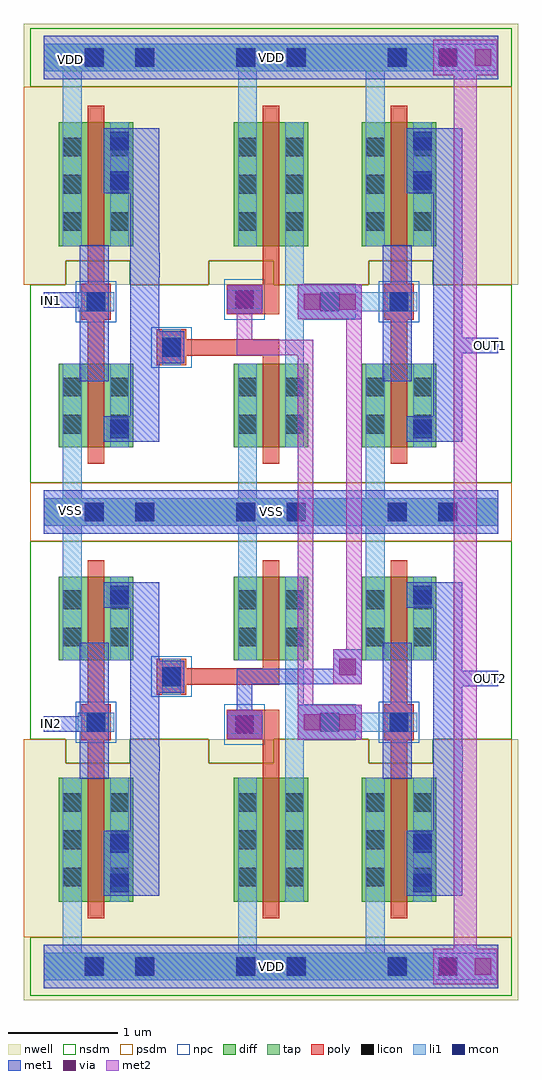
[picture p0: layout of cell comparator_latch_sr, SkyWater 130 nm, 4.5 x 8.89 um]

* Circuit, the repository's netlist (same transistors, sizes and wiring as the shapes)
* +++++++++++++++++++++++++++++++++++++++++++++++++++++ *
* CDL Netlist:                                          *
*                                                       *
* Cell Name  : comparator_latch_sr                      *
* Netlisted  : Mon Aug 10 00:38:03 2026                 *
* PVS Version: 16.10-p006 Thu Jul 27 18:05:02 PDT 2017 *
* +++++++++++++++++++++++++++++++++++++++++++++++++++++ *
*.LDD
*.DEVTMPLT 0 R(res_generic_m1) met1_res met1(P) met1(N)
*.DEVTMPLT 1 R(res_generic_m2) met2_res met2(P) met2(N)
*.DEVTMPLT 2 R(res_generic_m3) met3_res met3(P) met3(N)
*.DEVTMPLT 3 R(res_generic_m4) met4_res met4(P) met4(N)
*.DEVTMPLT 4 R(res_generic_m5) met5_res met5(P) met5(N)
*.DEVTMPLT 5 D(diode_pd2nw_05v5) diode_pd2nw_05v5_rec psd(PLUS) nwell(MINUS)
*.DEVTMPLT 6 D(diode_pd2nw_05v5_hvt) diode_pd2nw_05v5_hvt_rec psd(PLUS) nwell(MINUS)
*.DEVTMPLT 7 D(diode_pd2nw_05v5_lvt) diode_pd2nw_05v5_lvt_rec psd(PLUS) nwell(MINUS)
*.DEVTMPLT 8 D(diode_pd2nw_11v0) diode_pd2nw_11v0_rec psd(PLUS) nwell(MINUS)
*.DEVTMPLT 9 D(diode_pw2nd_05v5) diode_pw2nd_05v5_rec pwell_all(PLUS) nsd(MINUS)
*.DEVTMPLT 10 D(diode_pw2nd_05v5_lvt) diode_pw2nd_05v5_lvt_rec pwell_all(PLUS) nsd(MINUS)
*.DEVTMPLT 11 D(diode_pw2nd_05v5_nvt) diode_pw2nd_05v5_nvt_rec pwell_all(PLUS) nsd(MINUS)
*.DEVTMPLT 12 D(diode_pw2nd_11v0) diode_pw2nd_11v0_rec pwell_all(PLUS) nsd(MINUS)
*.DEVTMPLT 0 R(RES_GENERIC_ND) diff_res np_term(P) np_term(N)
*.DEVTMPLT 1 R(RES_GENERIC_PD) diff_res pp_term(P) pp_term(N)
*.DEVTMPLT 15 MN(nfet_01v8) nfet_01v8_rec nSourceDrain(D) nfet(G) nSourceDrain(S) pwell_all(B)
*.DEVTMPLT 16 MP(pfet_01v8) pfet_01v8_rec pSourceDrain(D) pfet(G) pSourceDrain(S) nwell(B)
*.DEVTMPLT 17 MP(pfet_01v8_lvt) lvtpfet_01v8_rec pSourceDrain(D) lvtpfet(G) pSourceDrain(S) nwell(B)
*.DEVTMPLT 18 MN(nfet_01v8_lvt) lvtnfet_01v8_rec nSourceDrain(D) lvtnfet(G) nSourceDrain(S) pwell_all(B)
*.DEVTMPLT 19 MP(pfet_01v8_hvt) hvtpfet_01v8_rec pSourceDrain(D) hvtpfet(G) pSourceDrain(S) nwell(B)
*.DEVTMPLT 20 MN(nfet_03v3_nvt) HV_ngate_3v3 HV_source_drain(D) HV_FET_gate(G) HV_source_drain(S) pwell_all(B)
*.DEVTMPLT 21 MN(nfet_05v0_nvt) HV_ngate_5v0 HV_source_drain(D) HV_FET_gate(G) HV_source_drain(S) pwell_all(B)
*.DEVTMPLT 22 MN(nfet_g5v0d10v5) HV_ngate_5v10v HV_source_drain(D) HV_FET_gate(G) HV_source_drain(S) pwell_all(B)
*.DEVTMPLT 23 MP(pfet_g5v0d10v5) HV_pgate_5v10v HV_source_drain(D) HV_FET_gate(G) HV_source_drain(S) nwell(B)
*.DEVTMPLT 24 MN(nfet_20v0) nfet_v20_rec nfet_v20_drain(D) nfet_v20_gate(G) nfet_v20_source(S) pwell_all(B)
*.DEVTMPLT 25 MN(nfet_20v0_zvt) nfet_v20_zvt_rec nfet_v20_drain(D) nfet_v20_gate(G) nfet_v20_source(S) pwell_all(B)
*.DEVTMPLT 26 MP(pfet_20v0) pfet_v20_rec pfet_v20_drain(D) pfet_v20_gate(G) pfet_v20_source(S) nwell(B)
*.DEVTMPLT 27 Q(npn_05v5) npn_rec npnC(C) npnB(B) npnE(E) pwell_all(BN)
*.DEVTMPLT 28 Q(npn_11v0) hvnpn_rec npnC(C) npnB(B) hvnpnE(E) pwell_all(BN)
*.DEVTMPLT 29 Q(pnp_05v5) pnp_rec pnpC(C) pnpB(B) pnpE(E) pwell_all(BN)
*.DEVTMPLT 30 R(res_high_po_0p35) res_high_po_0p35_rec prec_resistor_term(PLUS) prec_resistor_term(MINUS) pwell_all(B)
*.DEVTMPLT 31 R(res_high_po_0p69) res_high_po_0p69_rec prec_resistor_term(PLUS) prec_resistor_term(MINUS) pwell_all(B)
*.DEVTMPLT 32 R(res_high_po_1p41) res_high_po_1p41_rec prec_resistor_term(PLUS) prec_resistor_term(MINUS) pwell_all(B)
*.DEVTMPLT 33 R(res_high_po_2p85) res_high_po_2p85_rec prec_resistor_term(PLUS) prec_resistor_term(MINUS) pwell_all(B)
*.DEVTMPLT 34 R(res_high_po_5p73) res_high_po_5p73_rec prec_resistor_term(PLUS) prec_resistor_term(MINUS) pwell_all(B)
*.DEVTMPLT 35 R(res_xhigh_po_0p35) res_xhigh_po_0p35_rec prec_resistor_term(PLUS) prec_resistor_term(MINUS) pwell_all(B)
*.DEVTMPLT 36 R(res_xhigh_po_0p69) res_xhigh_po_0p69_rec prec_resistor_term(PLUS) prec_resistor_term(MINUS) pwell_all(B)
*.DEVTMPLT 37 R(res_xhigh_po_1p41) res_xhigh_po_1p41_rec prec_resistor_term(PLUS) prec_resistor_term(MINUS) pwell_all(B)
*.DEVTMPLT 38 R(res_xhigh_po_2p85) res_xhigh_po_2p85_rec prec_resistor_term(PLUS) prec_resistor_term(MINUS) pwell_all(B)
*.DEVTMPLT 39 R(res_xhigh_po_5p73) res_xhigh_po_5p73_rec prec_resistor_term(PLUS) prec_resistor_term(MINUS) pwell_all(B)
*.DEVTMPLT 40 C(cap_mim_m3__base) capacitor top_plate(PLUS) bottom_plate(MINUS)

* +++++++++++++++++++++++++++++++++++++++++++++++++++++ *
* Sub cell: nfet_01v8$$6                                *
* +++++++++++++++++++++++++++++++++++++++++++++++++++++ *
.subckt nfet_01v8$$6 1 2 3
** N=7 EP=3 FDC=1
M0 3 1 2 2 nfet_01v8 L=1.5e-07 W=7.6e-07 $X=0 $Y=0 $dt=15
.ends nfet_01v8$$6

* +++++++++++++++++++++++++++++++++++++++++++++++++++++ *
* Sub cell: INVX1_UPD                                   *
* +++++++++++++++++++++++++++++++++++++++++++++++++++++ *
.subckt INVX1_UPD A Y VDD VSS
** N=19 EP=4 FDC=2
M0 Y A VSS VSS nfet_01v8 L=1.5e-07 W=7.6e-07 $X=400 $Y=590 $dt=15
M1 Y A VDD VDD pfet_01v8 L=1.5e-07 W=1.13e-06 $X=400 $Y=2420 $dt=16
.ends INVX1_UPD

* +++++++++++++++++++++++++++++++++++++++++++++++++++++ *
* Sub cell: pfet_01v8$$11                               *
* +++++++++++++++++++++++++++++++++++++++++++++++++++++ *
.subckt pfet_01v8$$11 1 2 3
** N=10 EP=3 FDC=1
M0 3 1 2 2 pfet_01v8 L=1.5e-07 W=1.13e-06 $X=0 $Y=0 $dt=16
.ends pfet_01v8$$11

* +++++++++++++++++++++++++++++++++++++++++++++++++++++ *
* Sub cell: comparator_latch_sr                         *
* +++++++++++++++++++++++++++++++++++++++++++++++++++++ *
.subckt comparator_latch_sr IN1 IN2 OUT1 OUT2 VDD VSS
** N=20 EP=6 FDC=12
X13 1 VSS 4 nfet_01v8$$6 $T=2120 3050 0 0 $X=1715 $Y=2900
X14 2 VSS 3 nfet_01v8$$6 $T=2120 4990 0 0 $X=1715 $Y=4840
X15 IN2 1 VDD VSS INVX1_UPD $T=125 4400 1 0 $X=-55 $Y=-45
X16 IN1 2 VDD VSS INVX1_UPD $T=125 4400 0 0 $X=-55 $Y=4135
X17 4 OUT2 VDD VSS INVX1_UPD $T=2885 4400 1 0 $X=2705 $Y=-45
X18 3 OUT1 VDD VSS INVX1_UPD $T=2885 4400 0 0 $X=2705 $Y=4135
X19 3 VDD 4 pfet_01v8$$11 $T=2120 850 0 0 $X=1675 $Y=670
X20 4 VDD 3 pfet_01v8$$11 $T=2120 6820 0 0 $X=1675 $Y=6640
.ends comparator_latch_sr

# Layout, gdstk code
from math import pi, radians
import gdstk
lib = gdstk.Library(unit=1e-6, precision=1e-09)
def R(c, l, rs):  # rectangles x0, y0, x1, y1
    for r in rs: c.add(gdstk.rectangle(r[:2], r[2:], *l))
def A(c, l, x, y, w, h, nx, ny, dx, dy):  # array of equal rectangles
    R(c, l, [(x+i*dx, y+j*dy, x+i*dx+w, y+j*dy+h) for i in range(nx) for j in range(ny)])
def P(c, l, *ps):  # polygons
    for p in ps: c.add(gdstk.Polygon(p, *l))
nwell = (64, 20)
diff = (65, 20)
tap = (65, 44)
poly = (66, 20)
licon = (66, 44)
li1 = (67, 20)
mcon = (67, 44)
met1 = (68, 20)
via = (68, 44)
met2 = (69, 20)
nsdm = (93, 44)
psdm = (94, 20)
npc = (95, 20)

nfet_01v8__6 = lib.new_cell('nfet_01v8$$6')
R(nfet_01v8__6, diff, [(-0.265,0,0,0.76), (0,0,0.15,0.76), (0.15,0,0.415,0.76)])
R(nfet_01v8__6, poly, [(0,-0.15,0.15,-0.095), (0,-0.095,0.15,0), (0,0,0.15,0.76), (0,0.76,0.15,0.855), (0,0.855,0.15,0.91)])
R(nfet_01v8__6, licon, [(-0.225,0.125,-0.055,0.295), (0.205,0.125,0.375,0.295), (-0.225,0.465,-0.055,0.635), (0.205,0.465,0.375,0.635)])
R(nfet_01v8__6, li1, [(-0.225,0,-0.055,0.76), (0.205,0,0.375,0.76)])
R(nfet_01v8__6, nsdm, [(-0.405,-0.13,0.555,0.89)])
nfet_01v8__6.add(gdstk.Label('D_drain_1', (0.282,0.38), layer=65, texttype=20))
nfet_01v8__6.add(gdstk.Label('S_source_0', (-0.132,0.38), layer=65, texttype=20))
nfet_01v8__6.add(gdstk.Label('G_gate_1', (0.075,-0.122), layer=66, texttype=20))
nfet_01v8__6.add(gdstk.Label('G_gate_1', (0.075,0.882), layer=66, texttype=20))
nfet_01v8__6.add(gdstk.Label('D_drain_1', (0.29,0.38), layer=67, texttype=20))
nfet_01v8__6.add(gdstk.Label('S_source_0', (-0.14,0.38), layer=67, texttype=20))

l1m1_c__7 = lib.new_cell('L1M1_C$$7')
R(l1m1_c__7, li1, [(-0.165,-0.085,0.165,0.085)])
R(l1m1_c__7, mcon, [(-0.085,-0.085,0.085,0.085)])
R(l1m1_c__7, met1, [(-0.115,-0.145,0.115,0.145)])

l1m1_c__8 = lib.new_cell('L1M1_C$$8')
R(l1m1_c__8, li1, [(-0.085,-0.345,0.085,0.345)])
R(l1m1_c__8, mcon, [(-0.085,-0.265,0.085,-0.095), (-0.085,0.095,0.085,0.265)])
R(l1m1_c__8, met1, [(-0.145,-0.295,0.145,0.295)])

pyl1con_c__9 = lib.new_cell('PYL1CON_C$$9')
R(pyl1con_c__9, poly, [(-0.135,-0.165,0.135,0.165)])
R(pyl1con_c__9, licon, [(-0.085,-0.085,0.085,0.085)])
R(pyl1con_c__9, npc, [(-0.185,-0.185,0.185,0.185)])

l1m1_c__10 = lib.new_cell('L1M1_C$$10')
R(l1m1_c__10, li1, [(-0.085,-0.165,0.085,0.165)])
R(l1m1_c__10, mcon, [(-0.085,-0.085,0.085,0.085)])
R(l1m1_c__10, met1, [(-0.145,-0.115,0.145,0.115)])

invx1_upd = lib.new_cell('INVX1_UPD')
R(invx1_upd, nwell, [(-0.18,2.07,1.56,4.445)])
R(invx1_upd, diff, [(0.135,0.59,0.815,1.35), (0.135,2.42,0.815,3.55)])
R(invx1_upd, poly, [(0.4,0.44,0.55,3.7)])
A(invx1_upd, licon, 0.175, 2.56, 0.17, 0.17, 1, 3, 0, 0.34)
A(invx1_upd, licon, 0.605, 2.56, 0.17, 0.17, 1, 3, 0, 0.34)
R(invx1_upd, licon, [(0.375,-0.085,0.545,0.085), (0.835,-0.085,1.005,0.085), (0.175,0.715,0.345,0.885), (0.605,0.715,0.775,0.885), (0.175,1.055,0.345,1.225), (0.605,1.055,0.775,1.225), (0.375,4.055,0.545,4.225), (0.835,4.055,1.005,4.225)])
R(invx1_upd, li1, [(0.605,0.59,0.775,1.35), (0.605,2.42,0.775,3.55)])
P(invx1_upd, li1, [(1.38,0.125),(0.345,0.125),(0.345,1.35),(0.175,1.35),(0.175,0.125),(0,0.125),(0,-0.125),(1.38,-0.125)],
  [(1.38,4.265),(0,4.265),(0,4.015),(0.175,4.015),(0.175,2.42),(0.345,2.42),(0.345,4.015),(1.38,4.015)])
R(invx1_upd, mcon, [(0.375,-0.085,0.545,0.085), (0.835,-0.085,1.005,0.085), (0.375,4.055,0.545,4.225), (0.835,4.055,1.005,4.225)])
R(invx1_upd, met1, [(0,-0.2,1.38,0.2), (0.33,1.19,0.59,2.43), (0.79,2.14,1.055,2.36), (0,3.94,1.38,4.34)])
R(invx1_upd, nsdm, [(-0.125,3.875,1.505,4.405)])
P(invx1_upd, nsdm, [(1.505,2.07),(0.79,2.07),(0.79,2.29),(0.2,2.29),(0.2,2.07),(-0.125,2.07),(-0.125,0.265),(1.505,0.265)])
R(invx1_upd, psdm, [(-0.125,-0.265,1.505,0.265)])
P(invx1_upd, psdm, [(1.505,3.875),(-0.125,3.875),(-0.125,2.07),(0.2,2.07),(0.2,2.29),(0.79,2.29),(0.79,2.07),(1.505,2.07)])
invx1_upd.add(gdstk.FlexPath([(0,0),(1.38,0)], 0.25, ends="flush", simple_path=True, layer=65, datatype=44))  # tap
invx1_upd.add(gdstk.FlexPath([(0,4.14),(1.38,4.14)], 0.25, ends="flush", simple_path=True, layer=65, datatype=44))  # tap
invx1_upd.add(gdstk.FlexPath([(0.46,2.43),(0.46,1.19)], 0.26, ends="flush", simple_path=True, layer=68, datatype=20))  # met1
invx1_upd.add(gdstk.FlexPath([(0.92,0.64),(0.92,3.495)], 0.26, ends="flush", simple_path=True, layer=68, datatype=20))  # met1
invx1_upd.add(gdstk.Reference(l1m1_c__7, (0.475,1.915)))
invx1_upd.add(gdstk.Reference(l1m1_c__8, (0.69,3.2)))
invx1_upd.add(gdstk.Reference(pyl1con_c__9, (0.475,1.915), rotation=pi, x_reflection=True))
invx1_upd.add(gdstk.Reference(l1m1_c__10, (0.69,0.755)))
invx1_upd.add(gdstk.Label('A', (0.46,1.81), layer=68, texttype=20))
invx1_upd.add(gdstk.Label('Y', (0.922,2.25), layer=68, texttype=20))
invx1_upd.add(gdstk.Label('VSS', (0.69,0), layer=68, texttype=20))
invx1_upd.add(gdstk.Label('VDD', (0.69,4.14), layer=68, texttype=20))
invx1_upd.add(gdstk.Label('VDD', (0.695,4.145), layer=68, texttype=5))
invx1_upd.add(gdstk.Label('Y', (0.92,2.25), layer=68, texttype=5))
invx1_upd.add(gdstk.Label('VSS', (0.715,-0.01), layer=68, texttype=5))
invx1_upd.add(gdstk.Label('A', (0.46,1.715), layer=68, texttype=5))

pfet_01v8__11 = lib.new_cell('pfet_01v8$$11')
R(pfet_01v8__11, nwell, [(-0.445,-0.18,0.595,1.31)])
R(pfet_01v8__11, diff, [(-0.265,0,0,1.13), (0,0,0.15,1.13), (0.15,0,0.415,1.13)])
R(pfet_01v8__11, poly, [(0,-0.15,0.15,-0.095), (0,-0.095,0.15,0), (0,0,0.15,1.13), (0,1.13,0.15,1.225), (0,1.225,0.15,1.28)])
A(pfet_01v8__11, licon, -0.225, 0.14, 0.17, 0.17, 1, 3, 0, 0.34)
A(pfet_01v8__11, licon, 0.205, 0.14, 0.17, 0.17, 1, 3, 0, 0.34)
R(pfet_01v8__11, li1, [(-0.225,0,-0.055,1.13), (0.205,0,0.375,1.13)])
R(pfet_01v8__11, psdm, [(-0.405,-0.13,0.555,1.26)])
pfet_01v8__11.add(gdstk.Label('D_drain_1', (0.282,0.565), layer=65, texttype=20))
pfet_01v8__11.add(gdstk.Label('S_source_0', (-0.132,0.565), layer=65, texttype=20))
pfet_01v8__11.add(gdstk.Label('G_gate_1', (0.075,-0.122), layer=66, texttype=20))
pfet_01v8__11.add(gdstk.Label('G_gate_1', (0.075,1.252), layer=66, texttype=20))
pfet_01v8__11.add(gdstk.Label('D_drain_1', (0.29,0.565), layer=67, texttype=20))
pfet_01v8__11.add(gdstk.Label('S_source_0', (-0.14,0.565), layer=67, texttype=20))
pfet_01v8__11.add(gdstk.Label('B', (0.075,0.565), layer=64, texttype=20))

polyconn__1 = lib.new_cell('polyConn$$1')
R(polyconn__1, poly, [(-0.135,-0.165,0.135,0.165)])
R(polyconn__1, licon, [(-0.085,-0.085,0.085,0.085)])
R(polyconn__1, li1, [(-0.085,-0.165,0.085,0.165)])
R(polyconn__1, mcon, [(-0.085,-0.085,0.085,0.085)])
R(polyconn__1, met1, [(-0.115,-0.145,0.115,0.145)])
R(polyconn__1, npc, [(-0.185,-0.185,0.185,0.185)])

m1m2_c__2 = lib.new_cell('M1M2_C$$2')
R(m1m2_c__2, met1, [(-0.13,-0.16,0.13,0.16)])
R(m1m2_c__2, via, [(-0.075,-0.075,0.075,0.075)])
R(m1m2_c__2, met2, [(-0.13,-0.16,0.13,0.16)])

polyconn__3 = lib.new_cell('polyConn$$3')
R(polyconn__3, poly, [(-0.135,-0.165,0.135,0.165)])
R(polyconn__3, licon, [(-0.085,-0.085,0.085,0.085)])
R(polyconn__3, li1, [(-0.085,-0.165,0.085,0.165)])
R(polyconn__3, mcon, [(-0.085,-0.085,0.085,0.085)])
R(polyconn__3, met1, [(-0.13,-0.16,0.13,0.16)])
R(polyconn__3, npc, [(-0.185,-0.185,0.185,0.185)])

m1m2_c__4 = lib.new_cell('M1M2_C$$4')
R(m1m2_c__4, met1, [(-0.29,-0.16,0.29,0.16)])
R(m1m2_c__4, via, [(-0.235,-0.075,-0.085,0.075), (0.085,-0.075,0.235,0.075)])
R(m1m2_c__4, met2, [(-0.29,-0.16,0.29,0.16)])

l1m1_c__5 = lib.new_cell('L1M1_C$$5')
R(l1m1_c__5, li1, [(-0.235,-0.165,0.235,0.165)])
R(l1m1_c__5, mcon, [(-0.085,-0.085,0.085,0.085)])
R(l1m1_c__5, met1, [(-0.29,-0.16,0.29,0.16)])

comparator_latch_sr = lib.new_cell('comparator_latch_sr')
R(comparator_latch_sr, nwell, [(1.685,-0.045,2.705,2.33), (1.685,6.47,2.705,8.845)])
A(comparator_latch_sr, licon, 1.88, 0.175, 0.17, 0.17, 1, 3, 0, 4.14)
A(comparator_latch_sr, licon, 2.34, 0.175, 0.17, 0.17, 1, 3, 0, 4.14)
A(comparator_latch_sr, mcon, 1.88, 0.175, 0.17, 0.17, 1, 3, 0, 4.14)
A(comparator_latch_sr, mcon, 2.34, 0.175, 0.17, 0.17, 1, 3, 0, 4.14)
A(comparator_latch_sr, met1, 1.505, 0.06, 1.38, 0.4, 1, 3, 0, 4.14)
R(comparator_latch_sr, met1, [(0.125,2.4,0.265,2.54), (4.125,2.815,4.265,2.955), (0.3,4.345,0.44,4.485), (4.125,5.845,4.265,5.985), (0.125,6.26,0.265,6.4), (0.3,8.455,0.44,8.595)])
R(comparator_latch_sr, nsdm, [(1.38,-0.005,3.01,0.525), (1.6,-0.005,2.73,0.525), (1.63,-0.005,2.76,0.525), (1.63,2.11,2.22,2.33), (1.63,2.33,2.76,4.135), (1.63,4.665,2.76,6.47), (1.63,6.47,2.22,6.69), (1.38,8.275,3.01,8.805), (1.6,8.275,2.73,8.805)])
R(comparator_latch_sr, psdm, [(-0.055,0.525,0,2.33), (1.63,0.525,2.76,2.11), (2.22,2.11,2.76,2.33), (1.38,4.135,3.01,4.665), (-0.055,6.47,0,8.275), (2.22,6.47,2.76,6.69), (1.63,6.69,2.76,8.275)])
comparator_latch_sr.add(gdstk.FlexPath([(2.195,6.67),(2.195,6.2)], 0.15, ends="flush", simple_path=True, layer=66, datatype=20))  # poly
comparator_latch_sr.add(gdstk.FlexPath([(2.195,2.13),(2.195,2.6)], 0.15, ends="flush", simple_path=True, layer=66, datatype=20))  # poly
comparator_latch_sr.add(gdstk.FlexPath([(1.29,2.9),(1.29,2.885)], 0.15, ends=(0.075, 0), simple_path=True, layer=66, datatype=20))  # poly
comparator_latch_sr.add(gdstk.FlexPath([(2.195,2.9),(1.29,2.9)], 0.15, ends="extended", simple_path=True, layer=66, datatype=20))  # poly
comparator_latch_sr.add(gdstk.FlexPath([(2.195,5.9),(1.29,5.9)], 0.15, ends=(0.075, 0), simple_path=True, layer=66, datatype=20))  # poly
comparator_latch_sr.add(gdstk.FlexPath([(2.41,6.82),(2.41,6.315)], 0.17, ends=(0, 0.085), simple_path=True, layer=67, datatype=20))  # li1
comparator_latch_sr.add(gdstk.FlexPath([(3.36,6.315),(2.41,6.315)], 0.17, ends=(0, 0.085), simple_path=True, layer=67, datatype=20))  # li1
comparator_latch_sr.add(gdstk.FlexPath([(2.41,1.98),(2.41,2.485)], 0.17, ends=(0, 0.085), simple_path=True, layer=67, datatype=20))  # li1
comparator_latch_sr.add(gdstk.FlexPath([(3.36,2.485),(2.41,2.485)], 0.17, ends=(0, 0.085), simple_path=True, layer=67, datatype=20))  # li1
comparator_latch_sr.add(gdstk.FlexPath([(2.41,6.315),(2.41,5.75)], 0.17, ends=(0.085, 0), simple_path=True, layer=67, datatype=20))  # li1
comparator_latch_sr.add(gdstk.FlexPath([(2.41,2.485),(2.41,3.05)], 0.17, ends=(0.085, 0), simple_path=True, layer=67, datatype=20))  # li1
comparator_latch_sr.add(gdstk.FlexPath([(1.505,0.26),(1.98,0.26)], 0.25, ends=(0, 0.085), simple_path=True, layer=67, datatype=20))  # li1
comparator_latch_sr.add(gdstk.FlexPath([(1.98,0.92),(1.98,0.26)], 0.17, ends=(0, 0.125), simple_path=True, layer=67, datatype=20))  # li1
comparator_latch_sr.add(gdstk.FlexPath([(1.98,3.665),(1.98,4.4)], 0.17, ends=(0, 0.125), simple_path=True, layer=67, datatype=20))  # li1
comparator_latch_sr.add(gdstk.FlexPath([(1.505,4.4),(1.98,4.4)], 0.25, ends=(0, 0.085), simple_path=True, layer=67, datatype=20))  # li1
comparator_latch_sr.add(gdstk.FlexPath([(1.98,5.03),(1.98,4.4)], 0.17, ends=(0, 0.125), simple_path=True, layer=67, datatype=20))  # li1
comparator_latch_sr.add(gdstk.FlexPath([(1.505,8.54),(1.98,8.54)], 0.25, ends=(0, 0.085), simple_path=True, layer=67, datatype=20))  # li1
comparator_latch_sr.add(gdstk.FlexPath([(1.98,7.95),(1.98,8.54)], 0.17, ends=(0, 0.125), simple_path=True, layer=67, datatype=20))  # li1
comparator_latch_sr.add(gdstk.FlexPath([(1.98,0.26),(2.885,0.26)], 0.25, ends=(0.085, 0), simple_path=True, layer=67, datatype=20))  # li1
comparator_latch_sr.add(gdstk.FlexPath([(1.98,4.4),(2.885,4.4)], 0.25, ends=(0.085, 0), simple_path=True, layer=67, datatype=20))  # li1
comparator_latch_sr.add(gdstk.FlexPath([(1.98,8.54),(2.885,8.54)], 0.25, ends=(0.085, 0), simple_path=True, layer=67, datatype=20))  # li1
comparator_latch_sr.add(gdstk.FlexPath([(1.505,0.26),(2.885,0.26)], 0.25, ends="flush", simple_path=True, layer=65, datatype=44))  # tap
comparator_latch_sr.add(gdstk.FlexPath([(1.505,8.54),(2.885,8.54)], 0.25, ends="flush", simple_path=True, layer=65, datatype=44))  # tap
comparator_latch_sr.add(gdstk.FlexPath([(1.505,4.4),(2.885,4.4)], 0.25, ends="flush", simple_path=True, layer=65, datatype=44))  # tap
comparator_latch_sr.add(gdstk.FlexPath([(0.215,6.33),(0.715,6.33)], 0.14, ends="flush", simple_path=True, layer=68, datatype=20))  # met1
comparator_latch_sr.add(gdstk.FlexPath([(0.195,2.47),(0.715,2.47)], 0.14, ends="flush", simple_path=True, layer=68, datatype=20))  # met1
comparator_latch_sr.add(gdstk.FlexPath([(4.195,2.885),(3.805,2.885)], 0.14, ends="flush", simple_path=True, layer=68, datatype=20))  # met1
comparator_latch_sr.add(gdstk.FlexPath([(4.125,5.915),(3.805,5.915)], 0.14, ends="flush", simple_path=True, layer=68, datatype=20))  # met1
comparator_latch_sr.add(gdstk.FlexPath([(1.955,2.9),(1.955,2.465)], 0.14, ends=(0.07, 0), simple_path=True, layer=68, datatype=20))  # met1
comparator_latch_sr.add(gdstk.FlexPath([(2.955,2.9),(1.955,2.9)], 0.14, ends=(0, 0.07), simple_path=True, layer=68, datatype=20))  # met1
comparator_latch_sr.add(gdstk.FlexPath([(1.505,0.26),(2.885,0.26)], 0.4, ends="flush", simple_path=True, layer=68, datatype=20))  # met1
comparator_latch_sr.add(gdstk.FlexPath([(3.94,0.26),(3.965,0.26)], 0.21, ends=(0, 0.105), simple_path=True, layer=69, datatype=20))  # met2
comparator_latch_sr.add(gdstk.FlexPath([(3.965,0.26),(3.965,8.54)], 0.21, ends=(0.105, 0.16), simple_path=True, layer=69, datatype=20))  # met2
comparator_latch_sr.add(gdstk.FlexPath([(3.965,8.54),(3.99,8.54)], 0.32, ends=(0.105, 0.105), simple_path=True, layer=69, datatype=20))  # met2
comparator_latch_sr.add(gdstk.FlexPath([(2.95,2.9),(2.95,6.315)], 0.14, ends=(0, 0.16), simple_path=True, layer=69, datatype=20))  # met2
comparator_latch_sr.add(gdstk.FlexPath([(2.95,6.315),(2.73,6.315)], 0.32, ends=(0.07, 0), simple_path=True, layer=69, datatype=20))  # met2
comparator_latch_sr.add(gdstk.FlexPath([(1.955,6.335),(1.955,5.9)], 0.14, ends=(0, 0.07), simple_path=True, layer=69, datatype=20))  # met2
comparator_latch_sr.add(gdstk.FlexPath([(1.955,5.9),(2.51,5.9)], 0.14, ends="extended", simple_path=True, layer=69, datatype=20))  # met2
comparator_latch_sr.add(gdstk.FlexPath([(2.51,5.9),(2.51,2.485)], 0.14, ends=(0.07, 0.16), simple_path=True, layer=69, datatype=20))  # met2
comparator_latch_sr.add(gdstk.FlexPath([(2.51,2.485),(2.73,2.485)], 0.32, ends=(0.07, 0), simple_path=True, layer=69, datatype=20))  # met2
comparator_latch_sr.add(gdstk.Reference(nfet_01v8__6, (2.12,3.05)))
comparator_latch_sr.add(gdstk.Reference(nfet_01v8__6, (2.12,4.99)))
comparator_latch_sr.add(gdstk.Reference(invx1_upd, (2.885,4.4), x_reflection=True))
comparator_latch_sr.add(gdstk.Reference(invx1_upd, (2.885,4.4)))
comparator_latch_sr.add(gdstk.Reference(invx1_upd, (0.125,4.4), x_reflection=True))
comparator_latch_sr.add(gdstk.Reference(invx1_upd, (0.125,4.4)))
comparator_latch_sr.add(gdstk.Reference(pfet_01v8__11, (2.12,6.82)))
comparator_latch_sr.add(gdstk.Reference(pfet_01v8__11, (2.12,0.85)))
comparator_latch_sr.add(gdstk.Reference(polyconn__1, (1.29,5.9), rotation=pi))
comparator_latch_sr.add(gdstk.Reference(polyconn__1, (1.29,2.9), rotation=pi))
comparator_latch_sr.add(gdstk.Reference(m1m2_c__2, (2.89,2.99)))
comparator_latch_sr.add(gdstk.Reference(m1m2_c__2, (1.955,6.335), rotation=pi/2))
comparator_latch_sr.add(gdstk.Reference(m1m2_c__2, (1.955,2.465), rotation=pi/2))
comparator_latch_sr.add(gdstk.Reference(polyconn__3, (1.955,6.335), rotation=pi/2))
comparator_latch_sr.add(gdstk.Reference(polyconn__3, (1.955,2.465), rotation=pi/2))
comparator_latch_sr.add(gdstk.Reference(m1m2_c__4, (3.965,8.54)))
comparator_latch_sr.add(gdstk.Reference(m1m2_c__4, (3.965,0.26)))
comparator_latch_sr.add(gdstk.Reference(m1m2_c__4, (2.73,6.315)))
comparator_latch_sr.add(gdstk.Reference(m1m2_c__4, (2.73,2.485)))
comparator_latch_sr.add(gdstk.Reference(l1m1_c__5, (2.73,6.315)))
comparator_latch_sr.add(gdstk.Reference(l1m1_c__5, (2.73,2.485)))
comparator_latch_sr.add(gdstk.Label('VSS', (2.195,4.4), layer=68, texttype=20))
comparator_latch_sr.add(gdstk.Label('VDD', (2.195,0.26), layer=68, texttype=20))
comparator_latch_sr.add(gdstk.Label('VDD', (2.195,8.54), layer=68, texttype=20))
comparator_latch_sr.add(gdstk.Label('OUT2', (4.195,2.885), layer=68, texttype=20))
comparator_latch_sr.add(gdstk.Label('OUT1', (4.195,5.915), layer=68, texttype=20))
comparator_latch_sr.add(gdstk.Label('IN2', (0.195,2.47), layer=68, texttype=20))
comparator_latch_sr.add(gdstk.Label('IN1', (0.195,6.33), layer=68, texttype=20))
comparator_latch_sr.add(gdstk.Label('VSS', (0.37,4.415), layer=68, texttype=20))
comparator_latch_sr.add(gdstk.Label('VDD', (0.37,8.525), layer=68, texttype=20))
comparator_latch_sr.add(gdstk.Label('VSS', (2.22,4.39), layer=68, texttype=5))
comparator_latch_sr.add(gdstk.Label('VDD', (2.2,0.265), layer=68, texttype=5))
comparator_latch_sr.add(gdstk.Label('VDD', (2.2,8.545), layer=68, texttype=5))
comparator_latch_sr.add(gdstk.Label('OUT2', (4.195,2.885), layer=68, texttype=5))
comparator_latch_sr.add(gdstk.Label('OUT1', (4.195,5.915), layer=68, texttype=5))
comparator_latch_sr.add(gdstk.Label('IN2', (0.195,2.47), layer=68, texttype=5))
comparator_latch_sr.add(gdstk.Label('IN1', (0.195,6.33), layer=68, texttype=5))
comparator_latch_sr.add(gdstk.Label('VSS', (0.37,4.415), layer=68, texttype=5))
comparator_latch_sr.add(gdstk.Label('VDD', (0.37,8.525), layer=68, texttype=5))

lib.write_gds('comparator_latch_sr.gds')
